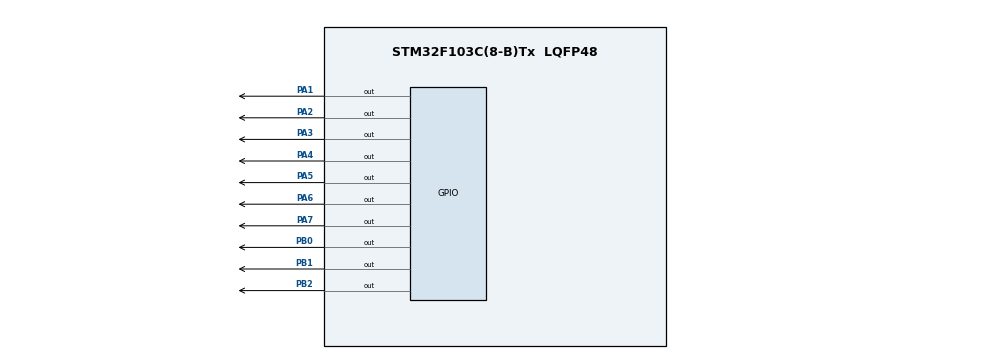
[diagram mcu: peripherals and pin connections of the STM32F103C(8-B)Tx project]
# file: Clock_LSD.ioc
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Mcu.Family=STM32F1
Mcu.Name=STM32F103C(8-B)Tx
Mcu.Package=LQFP48
NVIC.PriorityGroup=NVIC_PRIORITYGROUP_4
PA1.Signal=GPIO_Output
PA13.Mode=Serial_Wire
PA13.Signal=SYS_JTMS-SWDIO
PA14.Mode=Serial_Wire
PA14.Signal=SYS_JTCK-SWCLK
PA2.Signal=GPIO_Output
PA3.Signal=GPIO_Output
PA4.Signal=GPIO_Output
PA5.Signal=GPIO_Output
PA6.Signal=GPIO_Output
PA7.Signal=GPIO_Output
PB0.Signal=GPIO_Output
PB1.Signal=GPIO_Output
PB2.Signal=GPIO_Output
ProjectManager.HeapSize=0x200
ProjectManager.StackSize=0x400
ProjectManager.TargetToolchain=SW4STM32
RCC.APB1Freq_Value=8000000
RCC.APB2Freq_Value=8000000
board=Clock_LSD

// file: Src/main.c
/**
  ******************************************************************************
  * File Name          : main.c
  * Description        : Main program body
  ******************************************************************************
  *
  * COPYRIGHT(c) 2016 STMicroelectronics
  *
  * Redistribution and use in source and binary forms, with or without modification,
  * are permitted provided that the following conditions are met:
  *   1. Redistributions of source code must retain the above copyright notice,
  *      this list of conditions and the following disclaimer.
  *   2. Redistributions in binary form must reproduce the above copyright notice,
  *      this list of conditions and the following disclaimer in the documentation
  *      and/or other materials provided with the distribution.
  *   3. Neither the name of STMicroelectronics nor the names of its contributors
  *      may be used to endorse or promote products derived from this software
  *      without specific prior written permission.
  *
  * THIS SOFTWARE IS PROVIDED BY THE COPYRIGHT HOLDERS AND CONTRIBUTORS "AS IS"
  * AND ANY EXPRESS OR IMPLIED WARRANTIES, INCLUDING, BUT NOT LIMITED TO, THE
  * IMPLIED WARRANTIES OF MERCHANTABILITY AND FITNESS FOR A PARTICULAR PURPOSE ARE
  * DISCLAIMED. IN NO EVENT SHALL THE COPYRIGHT HOLDER OR CONTRIBUTORS BE LIABLE
  * FOR ANY DIRECT, INDIRECT, INCIDENTAL, SPECIAL, EXEMPLARY, OR CONSEQUENTIAL
  * DAMAGES (INCLUDING, BUT NOT LIMITED TO, PROCUREMENT OF SUBSTITUTE GOODS OR
  * SERVICES; LOSS OF USE, DATA, OR PROFITS; OR BUSINESS INTERRUPTION) HOWEVER
  * CAUSED AND ON ANY THEORY OF LIABILITY, WHETHER IN CONTRACT, STRICT LIABILITY,
  * OR TORT (INCLUDING NEGLIGENCE OR OTHERWISE) ARISING IN ANY WAY OUT OF THE USE
  * OF THIS SOFTWARE, EVEN IF ADVISED OF THE POSSIBILITY OF SUCH DAMAGE.
  *
  ******************************************************************************
  */
#include "stm32f1xx_hal.h"
#include "gpio.h"

/* USER CODE BEGIN Includes */
#include <stdio.h>
/* USER CODE END Includes */

/* USER CODE BEGIN PV */
/* Private variables ---------------------------------------------------------*/
/////////////////////////////////////ds1302///////////////////////////////////////////////////////////////
#define ds1302_sec_add			0x80
#define ds1302_min_add			0x82
#define ds1302_hr_add			0x84
#define ds1302_date_add			0x86
#define ds1302_month_add		0x88
#define ds1302_day_add			0x8a
#define ds1302_year_add			0x8c
#define ds1302_control_add		0x8e
#define ds1302_charger_add		0x90
#define ds1302_clkburst_add		0xbe

#define HEX2BCD(v)	((v) % 10 + (v) / 10 * 16)
#define BCD2HEX(v)	((v) % 16 + (v) / 16 * 10)

#ifndef UBYTE
#define UBYTE unsigned char
#endif

#define DS1302_GPIO	GPIOB			//порт на котором висит DS1302
#define DS1302_SCLK	GPIO_PIN_0		//пины для общения
#define DS1302_SDA	GPIO_PIN_2
#define DS1302_RST	GPIO_PIN_1
///////////////////////////////////end_ds1302////////////////////////////////////////////////
//---------------------------LCD-----------------------------------------------
#define d4_set  HAL_GPIO_WritePin(GPIOA, GPIO_PIN_3, ENABLE)
#define d5_set  HAL_GPIO_WritePin(GPIOA, GPIO_PIN_4, ENABLE)
#define d6_set  HAL_GPIO_WritePin(GPIOA, GPIO_PIN_5, ENABLE)
#define d7_set  HAL_GPIO_WritePin(GPIOA, GPIO_PIN_6, ENABLE)

#define d4_reset  HAL_GPIO_WritePin(GPIOA, GPIO_PIN_3, DISABLE)
#define d5_reset  HAL_GPIO_WritePin(GPIOA, GPIO_PIN_4, DISABLE)
#define d6_reset  HAL_GPIO_WritePin(GPIOA, GPIO_PIN_5, DISABLE)
#define d7_reset  HAL_GPIO_WritePin(GPIOA, GPIO_PIN_6, DISABLE)

#define e1  HAL_GPIO_WritePin(GPIOA, GPIO_PIN_2, ENABLE)
#define e0  HAL_GPIO_WritePin(GPIOA, GPIO_PIN_2, DISABLE)

#define rs1  HAL_GPIO_WritePin(GPIOA, GPIO_PIN_1, ENABLE)
#define rs0  HAL_GPIO_WritePin(GPIOA, GPIO_PIN_1, DISABLE)

//--------------R/W-на землю---------------------------------------------------
//-----------------------------------------------------------------------------
/* USER CODE END PV */

void SystemClock_Config(void);

/* USER CODE BEGIN PFP */
/* Private function prototypes -----------------------------------------------*/
////////////////////////////////ds1302//////////////////////////////////////////////
void DS1302_Init(void);
static void DS1302_WriteByte(UBYTE addr, UBYTE d);
static UBYTE DS1302_ReadByte(UBYTE addr);
void DS1302_WriteTime(UBYTE *buf);
void DS1302_ReadTime(UBYTE *buf);
///////////////////////////////end_ds1302////////////////////////////////////////////
//-----------------------------LCD---------------------------------------------
void LCD_ini(void);
void delay(void);
void LCD_WriteData(uint8_t dt);
void LCD_Command(uint8_t dt);
void LCD_Data(uint8_t dt);
void LCD_SendChar(char ch);
void LCD_Clear(void);
void LCD_String(char* st);
void LCD_SetPos(uint8_t x, uint8_t y);

//-----------------------------------------------------------------------------
/* USER CODE END PFP */

int main(void)
{

  /* USER CODE BEGIN 1 */
	char str[20];
	unsigned char timedat[8] = {0, 2016, 9, 29, 12, 17, 1, 4}; // устанавлемое время по умолчанию пусто, год, месяц, дата, час, минута, секунда, день.
	unsigned char timebuf[16] = {0, };
	unsigned char databuf[16] = {0, };
	//char str[]="Stm32O_O";

  /* USER CODE END 1 */

  /* MCU Configuration----------------------------------------------------------*/

  /* Reset of all peripherals, Initializes the Flash interface and the Systick. */
  HAL_Init();

  /* Configure the system clock */
  SystemClock_Config();

  /* Initialize all configured peripherals */
  MX_GPIO_Init();

  /* USER CODE BEGIN 2 */
  	  	DS1302_Init();
  	  	LCD_ini();
  	  	//sprintf(str,"Stm32-Clock");
  	    //LCD_String(str);
  	  	//DS1302_WriteTime(timedat);  //запись времени

  /* USER CODE END 2 */

  /* Infinite loop */
  while (1)
  {

  /* USER CODE BEGIN 3 */
	  //void LCD_SetPos(1,1)
	   //sprintf(str,"123456789987654321");
	   //LCD_String(str);
//	  LCD_String(timebuf);
//	  LCD_SetPos(1,2);
//	  LCD_String(timebuf);
	  DS1302_ReadTime(timedat);
	  //sprintf((char*)timebuf, "%02d-%02d %02d.%02d.%02d", timedat[2], timedat[3], timedat[4], timedat[5], timedat[6]); //на нормальный дисплей
	  sprintf((char*)timebuf, "%02d-%02d %02d", timedat[2], timedat[3], timedat[4]);// на дисплей 1601-А
	  LCD_SetPos(0,0);
	  LCD_String(timebuf);
	  sprintf((char*)timebuf, ":%02d:%02d", timedat[5], timedat[6]);// на дисплей 1601-А
	  LCD_SetPos(0,1);
	  LCD_String(timebuf);
	  //HAL_Delay(200);
	  //LCD_Clear();
  }
  /* USER CODE END 3 */

}

/** System Clock Configuration
*/
void SystemClock_Config(void)
{

  RCC_OscInitTypeDef RCC_OscInitStruct;
  RCC_ClkInitTypeDef RCC_ClkInitStruct;

  RCC_OscInitStruct.OscillatorType = RCC_OSCILLATORTYPE_HSI;
  RCC_OscInitStruct.HSIState = RCC_HSI_ON;
  RCC_OscInitStruct.HSICalibrationValue = 16;
  RCC_OscInitStruct.PLL.PLLState = RCC_PLL_NONE;
  HAL_RCC_OscConfig(&RCC_OscInitStruct);

  RCC_ClkInitStruct.ClockType = RCC_CLOCKTYPE_HCLK|RCC_CLOCKTYPE_SYSCLK
                              |RCC_CLOCKTYPE_PCLK1|RCC_CLOCKTYPE_PCLK2;
  RCC_ClkInitStruct.SYSCLKSource = RCC_SYSCLKSOURCE_HSI;
  RCC_ClkInitStruct.AHBCLKDivider = RCC_SYSCLK_DIV1;
  RCC_ClkInitStruct.APB1CLKDivider = RCC_HCLK_DIV1;
  RCC_ClkInitStruct.APB2CLKDivider = RCC_HCLK_DIV1;
  HAL_RCC_ClockConfig(&RCC_ClkInitStruct, FLASH_LATENCY_0);

  HAL_SYSTICK_Config(HAL_RCC_GetHCLKFreq()/1000);

  HAL_SYSTICK_CLKSourceConfig(SYSTICK_CLKSOURCE_HCLK);

  /* SysTick_IRQn interrupt configuration */
  HAL_NVIC_SetPriority(SysTick_IRQn, 0, 0);
}

/* USER CODE BEGIN 4 */
//--------------------------------------LCD-------------------------------------
void LCD_ini(void){
	HAL_Delay(40);
	rs0;
	uint8_t i=0;
	for(i=0;i<3;i++)
	 {
		LCD_WriteData(3);
		e1;
		delay();
		e0;
		HAL_Delay(1);
	 }
	LCD_Command(0x28);//режим 4 бита, 2 линии(для большого это 4)
	HAL_Delay(1);
	LCD_Command(0x28);//еще раз для надежности
	HAL_Delay(1);
	LCD_Command(0x0C);//включить дисплей(D=1),и все курсоры (0x0F),отключить курсор(0x0C)
	HAL_Delay(1);
	LCD_Command(0x01);//убрать мусор
	HAL_Delay(2);
	LCD_Command(0x06);//пишем влево
	HAL_Delay(1);
	LCD_Command(0x02);//курсор в нулевое положение
	HAL_Delay(2);

}
//------------------------------------------------------------------------------
void LCD_WriteData(uint8_t dt){
	if(((dt>>3) & 0x01)==1){d7_set;}else{d7_reset;}
	if(((dt>>2) & 0x01)==1){d6_set;}else{d6_reset;}
	if(((dt>>1) & 0x01)==1){d5_set;}else{d5_reset;}
	if((dt & 0x01)==1){d4_set;}else{d4_reset;}

}
//-----------------------------------------------------------------------------
void delay(void){
	uint16_t i;
	for(i=0;i<1000;i++){};
}
//-----------------------------------------------------------------------------
void LCD_Command(uint8_t dt){
	rs0;
	LCD_WriteData(dt>>4);
	e1;
	delay();
	e0;
	LCD_WriteData(dt);
	e1;
	delay();
	e0;
}
//------------------------------------------------------------------------------
void LCD_Data(uint8_t dt){
	rs1;
	LCD_WriteData(dt>>4);
	e1;
	delay();
	e0;
	LCD_WriteData(dt);
	e1;
	delay();
	e0;
}
//------------------------------------------------------------------------------
void LCD_Clear(void){

	LCD_Command(0x01);//убрать мусор
	HAL_Delay(2);
}
//------------------------------------------------------------------------------
void LCD_SendChar(char ch){

	LCD_Data((uint8_t)ch);
	delay();
}
//------------------------------------------------------------------------------
void LCD_String(char* st){

	uint8_t i=0;
	while(st[i]!=0)
	{
		LCD_Data(st[i]);
		HAL_Delay(1);
		i++;

	}
}
//------------------------------------------------------------------------------
void LCD_SetPos(uint8_t x, uint8_t y)
{
	switch(y)
	{
	case 0:
		LCD_Command(x|0x80);
		HAL_Delay(1);
	break;
	case 1:
		LCD_Command((0x40 + x)|0x80);
		HAL_Delay(1);
	break;
	case 2:
		LCD_Command((0x14 + x)|0x80);
		HAL_Delay(1);
	break;
	case 3:
		LCD_Command((0x54 + x)|0x80);
		HAL_Delay(1);
	break;
	}
}
//////////////////////////////////////////////////////////////////////
//		((char)((i/100)%10)) 	12(3)		вывод цифер из числа
//		((char)((i/10)%10)) 	1(2)3
//		((char)(i%10)) 			(1)23
//////////////////////////////////////////////////////////////////////
//------------------------------------------------------------------------------
/////////////////////////////////////////////////////--DS1302--//////////////////////////////////////////////////////////////////

//#define ds1302_sec_add			0x80
//#define ds1302_min_add			0x82
//#define ds1302_hr_add			0x84
//#define ds1302_date_add			0x86
//#define ds1302_month_add		0x88
//#define ds1302_day_add			0x8a
//#define ds1302_year_add			0x8c
//#define ds1302_control_add		0x8e
//#define ds1302_charger_add		0x90
//#define ds1302_clkburst_add		0xbe
//
//#define HEX2BCD(v)	((v) % 10 + (v) / 10 * 16)
//#define BCD2HEX(v)	((v) % 16 + (v) / 16 * 10)
//
//#ifndef UBYTE
//#define UBYTE unsigned char
//#endif
//
//#define DS1302_GPIO	GPIOB			//порт на котором висит DS1302
//#define DS1302_SCLK	GPIO_PIN_0		//пины для общения
//#define DS1302_SDA	GPIO_PIN_2
//#define DS1302_RST	GPIO_PIN_1

static void DS1302_WriteByte(UBYTE addr, UBYTE d)
{
	UBYTE i;

	HAL_GPIO_WritePin(DS1302_GPIO, DS1302_RST, ENABLE);

	addr = addr & 0xFE;
	for (i = 0; i < 8; i ++)
	{

		HAL_GPIO_WritePin(DS1302_GPIO, DS1302_SDA, (addr & 1) ? ENABLE : DISABLE);

		HAL_GPIO_WritePin(DS1302_GPIO, DS1302_SCLK, ENABLE);

		HAL_GPIO_WritePin(DS1302_GPIO, DS1302_SCLK, DISABLE);
		addr >>= 1;
	}

	for (i = 0; i < 8; i ++)
	{

		HAL_GPIO_WritePin(DS1302_GPIO, DS1302_SDA, (d & 1) ? ENABLE : DISABLE);

		HAL_GPIO_WritePin(DS1302_GPIO, DS1302_SCLK, ENABLE);

		HAL_GPIO_WritePin(DS1302_GPIO, DS1302_SCLK, DISABLE);
		d >>= 1;
	}

	HAL_GPIO_WritePin(DS1302_GPIO, DS1302_RST, DISABLE);
}

static UBYTE DS1302_ReadByte(UBYTE addr)
{
	UBYTE i;
	UBYTE temp = 0;

	HAL_GPIO_WritePin(DS1302_GPIO, DS1302_RST, ENABLE);
	addr = addr | 0x01;

	for (i = 0; i < 8; i ++)
	{

		HAL_GPIO_WritePin(DS1302_GPIO, DS1302_SDA, (addr & 1) ? ENABLE : DISABLE);

		HAL_GPIO_WritePin(DS1302_GPIO, DS1302_SCLK, ENABLE);

		HAL_GPIO_WritePin(DS1302_GPIO, DS1302_SCLK, DISABLE);
		addr >>= 1;

	}

	for (i = 0; i < 8; i ++)
	{

		temp >>= 1;

		if(HAL_GPIO_ReadPin(DS1302_GPIO, DS1302_SDA))
			temp |= 0x80;

		HAL_GPIO_WritePin(DS1302_GPIO, DS1302_SCLK, ENABLE);

		HAL_GPIO_WritePin(DS1302_GPIO, DS1302_SCLK, DISABLE);
	}

	HAL_GPIO_WritePin(DS1302_GPIO, DS1302_RST, DISABLE);

	return temp;
}

void DS1302_WriteTime(UBYTE *buf)
{
	DS1302_WriteByte(ds1302_control_add,0x00);
	DS1302_WriteByte(ds1302_sec_add,0x80);
	//Ds1302_Write_Byte(ds1302_charger_add,0xa9);
	DS1302_WriteByte(ds1302_year_add,HEX2BCD(buf[1]));
	DS1302_WriteByte(ds1302_month_add,HEX2BCD(buf[2]));
	DS1302_WriteByte(ds1302_date_add,HEX2BCD(buf[3]));
	DS1302_WriteByte(ds1302_hr_add,HEX2BCD(buf[4]));
	DS1302_WriteByte(ds1302_min_add,HEX2BCD(buf[5]));
	DS1302_WriteByte(ds1302_sec_add,HEX2BCD(buf[6]));
	DS1302_WriteByte(ds1302_day_add,HEX2BCD(buf[7]));
	DS1302_WriteByte(ds1302_control_add,0x80);
}

void DS1302_ReadTime(UBYTE *buf)
{
   	UBYTE tmp;

	tmp = DS1302_ReadByte(ds1302_year_add);
	buf[1] = BCD2HEX(tmp);

	tmp = DS1302_ReadByte(ds1302_month_add);
	buf[2] = BCD2HEX(tmp);

	tmp = DS1302_ReadByte(ds1302_date_add);
	buf[3] = BCD2HEX(tmp);

	tmp = DS1302_ReadByte(ds1302_hr_add);
	buf[4] = BCD2HEX(tmp);

	tmp = DS1302_ReadByte(ds1302_min_add);
	buf[5] = BCD2HEX(tmp);

	tmp = DS1302_ReadByte((ds1302_sec_add))&0x7F;
	buf[6] = BCD2HEX(tmp);

	tmp = DS1302_ReadByte(ds1302_day_add);
	buf[7] = BCD2HEX(tmp);
}

void DS1302_Init(void)
{
	 GPIO_InitTypeDef GPIO_InitStruct;
	 __HAL_RCC_GPIOB_CLK_ENABLE();

	 GPIO_InitStruct.Pin = DS1302_SCLK | DS1302_SDA | DS1302_RST;
	  GPIO_InitStruct.Mode = GPIO_MODE_OUTPUT_PP;
	  GPIO_InitStruct.Speed = GPIO_SPEED_FREQ_LOW;
	 HAL_GPIO_Init(DS1302_GPIO, &GPIO_InitStruct);

	HAL_GPIO_WritePin(DS1302_GPIO, DS1302_RST, DISABLE);

	HAL_GPIO_WritePin(DS1302_GPIO, DS1302_SCLK, DISABLE);
    DS1302_WriteByte(ds1302_sec_add,0x00);
}

////////////////////////////////////////////////////////end--DS1302--///////////////////////////////////////////////////////////////
/* USER CODE END 4 */

/************************ (C) COPYRIGHT STMicroelectronics *****END OF FILE****/
